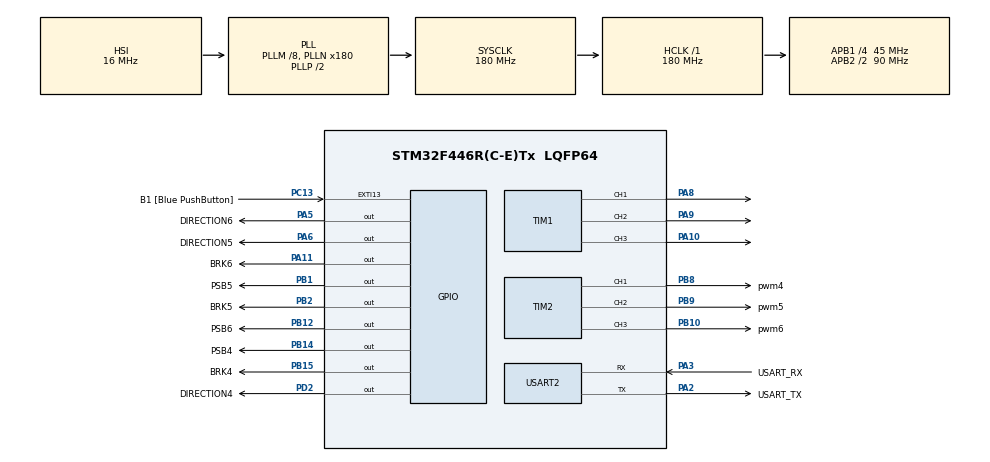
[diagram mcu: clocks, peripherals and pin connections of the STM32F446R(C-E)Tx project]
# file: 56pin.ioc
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Mcu.Family=STM32F4
Mcu.Name=STM32F446R(C-E)Tx
Mcu.Package=LQFP64
NVIC.PriorityGroup=NVIC_PRIORITYGROUP_0
PA10.Signal=S_TIM1_CH3
PA11.GPIO_Label=BRK6
PA11.Signal=GPIO_Output
PA13.GPIO_Label=TMS
PA13.Mode=Serial_Wire
PA13.Signal=SYS_JTMS-SWDIO
PA14.GPIO_Label=TCK
PA14.Mode=Serial_Wire
PA14.Signal=SYS_JTCK-SWCLK
PA2.GPIO_Label=USART_TX
PA2.Mode=Asynchronous
PA2.Signal=USART2_TX
PA3.GPIO_Label=USART_RX
PA3.Mode=Asynchronous
PA3.Signal=USART2_RX
PA5.GPIO_Label=DIRECTION6
PA5.Signal=GPIO_Output
PA6.GPIO_Label=DIRECTION5
PA6.Signal=GPIO_Output
PA8.Signal=S_TIM1_CH1
PA9.Signal=S_TIM1_CH2
PB1.GPIO_Label=PSB5
PB1.Signal=GPIO_Output
PB10.GPIO_Label=pwm6
PB10.Signal=S_TIM2_CH3
PB12.GPIO_Label=PSB6
PB12.Signal=GPIO_Output
PB14.GPIO_Label=PSB4
PB14.Signal=GPIO_Output
PB15.GPIO_Label=BRK4
PB15.Signal=GPIO_Output
PB2.GPIO_Label=BRK5
PB2.Signal=GPIO_Output
PB3.GPIO_Label=SWO
PB3.Signal=SYS_JTDO-SWO
PB8.GPIO_Label=pwm4
PB8.Signal=S_TIM2_CH1_ETR
PB9.GPIO_Label=pwm5
PB9.Signal=S_TIM2_CH2
PC13.GPIO_Label=B1 [Blue PushButton]
PC13.GPIO_ModeDefaultEXTI=GPIO_MODE_IT_FALLING
PC13.Signal=GPXTI13
PC14-OSC32_IN.Mode=LSE-External-Oscillator
PC14-OSC32_IN.Signal=RCC_OSC32_IN
PC15-OSC32_OUT.Mode=LSE-External-Oscillator
PC15-OSC32_OUT.Signal=RCC_OSC32_OUT
PD2.GPIO_Label=DIRECTION4
PD2.Signal=GPIO_Output
PH0-OSC_IN.Mode=HSE-External-Oscillator
PH0-OSC_IN.Signal=RCC_OSC_IN
PH1-OSC_OUT.Mode=HSE-External-Oscillator
PH1-OSC_OUT.Signal=RCC_OSC_OUT
ProjectManager.HeapSize=0x200
ProjectManager.StackSize=0x400
ProjectManager.TargetToolchain=STM32CubeIDE
RCC.48MHZClocksFreq_Value=84000000
RCC.AHBFreq_Value=180000000
RCC.APB1CLKDivider=RCC_HCLK_DIV4
RCC.APB1Freq_Value=45000000
RCC.APB1TimFreq_Value=90000000
RCC.APB2CLKDivider=RCC_HCLK_DIV2
RCC.APB2Freq_Value=90000000
RCC.APB2TimFreq_Value=180000000
RCC.CortexFreq_Value=180000000
RCC.FLatency-AdvancedSettings=FLASH_LATENCY_5
RCC.HCLKFreq_Value=180000000
RCC.HSE_VALUE=8000000
RCC.HSI_VALUE=16000000
RCC.PLLM=8
RCC.PLLN=180
RCC.SYSCLKFreq_VALUE=180000000
RCC.SYSCLKSource=RCC_SYSCLKSOURCE_PLLCLK
RCC.USBFreq_Value=180000000
RCC.VCOOutputFreq_Value=360000000
SH.S_TIM1_CH1.0=TIM1_CH1,PWM Generation1 CH1
SH.S_TIM1_CH2.0=TIM1_CH2,PWM Generation2 CH2
SH.S_TIM1_CH3.0=TIM1_CH3,PWM Generation3 CH3
SH.S_TIM2_CH1_ETR.0=TIM2_CH1,PWM Generation1 CH1
SH.S_TIM2_CH2.0=TIM2_CH2,PWM Generation2 CH2
SH.S_TIM2_CH3.0=TIM2_CH3,PWM Generation3 CH3
TIM1.Channel-PWM\ Generation1\ CH1=TIM_CHANNEL_1
TIM1.Channel-PWM\ Generation2\ CH2=TIM_CHANNEL_2
TIM1.Channel-PWM\ Generation3\ CH3=TIM_CHANNEL_3
TIM2.Channel-PWM\ Generation1\ CH1=TIM_CHANNEL_1
TIM2.Channel-PWM\ Generation2\ CH2=TIM_CHANNEL_2
TIM2.Channel-PWM\ Generation3\ CH3=TIM_CHANNEL_3
USART2.VirtualMode=VM_ASYNC
VP_TIM1_VS_ClockSourceINT.Mode=Internal
VP_TIM2_VS_ClockSourceINT.Mode=Internal
board=NUCLEO-F446RE

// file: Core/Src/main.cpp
/* USER CODE BEGIN Header */
/**
  ******************************************************************************
  * @file           : main.c
  * @brief          : Main program body
  ******************************************************************************
  * @attention
  *
  * Copyright (c) 2023 STMicroelectronics.
  * All rights reserved.
  *
  * This software is licensed under terms that can be found in the LICENSE file
  * in the root directory of this software component.
  * If no LICENSE file comes with this software, it is provided AS-IS.
  *
  ******************************************************************************
  */
/* USER CODE END Header */
#include "main.h"

TIM_HandleTypeDef htim1;
TIM_HandleTypeDef htim2;

UART_HandleTypeDef huart2;

void SystemClock_Config(void);
static void MX_GPIO_Init(void);
static void MX_USART2_UART_Init(void);
static void MX_TIM1_Init(void);
static void MX_TIM2_Init(void);

int main(void)
{

  /* MCU Configuration--------------------------------------------------------*/

  /* Reset of all peripherals, Initializes the Flash interface and the Systick. */
  HAL_Init();

  /* Configure the system clock */
  SystemClock_Config();

  /* Initialize all configured peripherals */
  MX_GPIO_Init();
  MX_USART2_UART_Init();
  MX_TIM1_Init();
  MX_TIM2_Init();
  /* USER CODE BEGIN 2 */
  HAL_TIM_PWM_Start(&htim2, TIM_CHANNEL_1);
  HAL_TIM_PWM_Start(&htim2, TIM_CHANNEL_2);
  HAL_TIM_PWM_Start(&htim2, TIM_CHANNEL_3);
  HAL_GPIO_WritePin(PSB4_GPIO_Port,PSB4_Pin,GPIO_PIN_SET);
  HAL_GPIO_WritePin(BRK4_GPIO_Port,BRK4_Pin,GPIO_PIN_RESET);
  HAL_GPIO_WritePin(DIRECTION4_GPIO_Port,DIRECTION4_Pin,GPIO_PIN_SET);
  HAL_GPIO_WritePin(PSB5_GPIO_Port,PSB5_Pin,GPIO_PIN_SET);
  HAL_GPIO_WritePin(BRK5_GPIO_Port,BRK5_Pin,GPIO_PIN_RESET);
  HAL_GPIO_WritePin(DIRECTION5_GPIO_Port,DIRECTION5_Pin,GPIO_PIN_SET);
  HAL_GPIO_WritePin(PSB6_GPIO_Port,PSB6_Pin,GPIO_PIN_SET);
  HAL_GPIO_WritePin(BRK6_GPIO_Port,BRK6_Pin,GPIO_PIN_RESET);
  HAL_GPIO_WritePin(DIRECTION6_GPIO_Port,DIRECTION6_Pin,GPIO_PIN_SET);
  /* USER CODE END 2 */

  /* Infinite loop */
  /* USER CODE BEGIN WHILE */
  while (1)
  {
	  __HAL_TIM_SET_COMPARE(&htim2, TIM_CHANNEL_1, 30000);
	  __HAL_TIM_SET_COMPARE(&htim2, TIM_CHANNEL_2, 30000);
	  __HAL_TIM_SET_COMPARE(&htim2, TIM_CHANNEL_3, 30000);
    /* USER CODE END WHILE */

  }
}

void SystemClock_Config(void)
{
  RCC_OscInitTypeDef RCC_OscInitStruct = {0};
  RCC_ClkInitTypeDef RCC_ClkInitStruct = {0};

  /** Configure the main internal regulator output voltage
  */
  __HAL_RCC_PWR_CLK_ENABLE();
  __HAL_PWR_VOLTAGESCALING_CONFIG(PWR_REGULATOR_VOLTAGE_SCALE1);

  /** Initializes the RCC Oscillators according to the specified parameters
  * in the RCC_OscInitTypeDef structure.
  */
  RCC_OscInitStruct.OscillatorType = RCC_OSCILLATORTYPE_HSI;
  RCC_OscInitStruct.HSIState = RCC_HSI_ON;
  RCC_OscInitStruct.HSICalibrationValue = RCC_HSICALIBRATION_DEFAULT;
  RCC_OscInitStruct.PLL.PLLState = RCC_PLL_ON;
  RCC_OscInitStruct.PLL.PLLSource = RCC_PLLSOURCE_HSI;
  RCC_OscInitStruct.PLL.PLLM = 8;
  RCC_OscInitStruct.PLL.PLLN = 180;
  RCC_OscInitStruct.PLL.PLLP = RCC_PLLP_DIV2;
  RCC_OscInitStruct.PLL.PLLQ = 2;
  RCC_OscInitStruct.PLL.PLLR = 2;
  if (HAL_RCC_OscConfig(&RCC_OscInitStruct) != HAL_OK)
  {
    Error_Handler();
  }

  /** Activate the Over-Drive mode
  */
  if (HAL_PWREx_EnableOverDrive() != HAL_OK)
  {
    Error_Handler();
  }

  /** Initializes the CPU, AHB and APB buses clocks
  */
  RCC_ClkInitStruct.ClockType = RCC_CLOCKTYPE_HCLK|RCC_CLOCKTYPE_SYSCLK
                              |RCC_CLOCKTYPE_PCLK1|RCC_CLOCKTYPE_PCLK2;
  RCC_ClkInitStruct.SYSCLKSource = RCC_SYSCLKSOURCE_PLLCLK;
  RCC_ClkInitStruct.AHBCLKDivider = RCC_SYSCLK_DIV1;
  RCC_ClkInitStruct.APB1CLKDivider = RCC_HCLK_DIV4;
  RCC_ClkInitStruct.APB2CLKDivider = RCC_HCLK_DIV2;

  if (HAL_RCC_ClockConfig(&RCC_ClkInitStruct, FLASH_LATENCY_5) != HAL_OK)
  {
    Error_Handler();
  }
}

static void MX_TIM1_Init(void)
{

  TIM_ClockConfigTypeDef sClockSourceConfig = {0};
  TIM_MasterConfigTypeDef sMasterConfig = {0};
  TIM_OC_InitTypeDef sConfigOC = {0};
  TIM_BreakDeadTimeConfigTypeDef sBreakDeadTimeConfig = {0};

  htim1.Instance = TIM1;
  htim1.Init.Prescaler = 0;
  htim1.Init.CounterMode = TIM_COUNTERMODE_UP;
  htim1.Init.Period = 65535;
  htim1.Init.ClockDivision = TIM_CLOCKDIVISION_DIV1;
  htim1.Init.RepetitionCounter = 0;
  htim1.Init.AutoReloadPreload = TIM_AUTORELOAD_PRELOAD_DISABLE;
  if (HAL_TIM_Base_Init(&htim1) != HAL_OK)
  {
    Error_Handler();
  }
  sClockSourceConfig.ClockSource = TIM_CLOCKSOURCE_INTERNAL;
  if (HAL_TIM_ConfigClockSource(&htim1, &sClockSourceConfig) != HAL_OK)
  {
    Error_Handler();
  }
  if (HAL_TIM_PWM_Init(&htim1) != HAL_OK)
  {
    Error_Handler();
  }
  sMasterConfig.MasterOutputTrigger = TIM_TRGO_RESET;
  sMasterConfig.MasterSlaveMode = TIM_MASTERSLAVEMODE_DISABLE;
  if (HAL_TIMEx_MasterConfigSynchronization(&htim1, &sMasterConfig) != HAL_OK)
  {
    Error_Handler();
  }
  sConfigOC.OCMode = TIM_OCMODE_PWM1;
  sConfigOC.Pulse = 0;
  sConfigOC.OCPolarity = TIM_OCPOLARITY_HIGH;
  sConfigOC.OCNPolarity = TIM_OCNPOLARITY_HIGH;
  sConfigOC.OCFastMode = TIM_OCFAST_DISABLE;
  sConfigOC.OCIdleState = TIM_OCIDLESTATE_RESET;
  sConfigOC.OCNIdleState = TIM_OCNIDLESTATE_RESET;
  if (HAL_TIM_PWM_ConfigChannel(&htim1, &sConfigOC, TIM_CHANNEL_1) != HAL_OK)
  {
    Error_Handler();
  }
  if (HAL_TIM_PWM_ConfigChannel(&htim1, &sConfigOC, TIM_CHANNEL_2) != HAL_OK)
  {
    Error_Handler();
  }
  if (HAL_TIM_PWM_ConfigChannel(&htim1, &sConfigOC, TIM_CHANNEL_3) != HAL_OK)
  {
    Error_Handler();
  }
  sBreakDeadTimeConfig.OffStateRunMode = TIM_OSSR_DISABLE;
  sBreakDeadTimeConfig.OffStateIDLEMode = TIM_OSSI_DISABLE;
  sBreakDeadTimeConfig.LockLevel = TIM_LOCKLEVEL_OFF;
  sBreakDeadTimeConfig.DeadTime = 0;
  sBreakDeadTimeConfig.BreakState = TIM_BREAK_DISABLE;
  sBreakDeadTimeConfig.BreakPolarity = TIM_BREAKPOLARITY_HIGH;
  sBreakDeadTimeConfig.AutomaticOutput = TIM_AUTOMATICOUTPUT_DISABLE;
  if (HAL_TIMEx_ConfigBreakDeadTime(&htim1, &sBreakDeadTimeConfig) != HAL_OK)
  {
    Error_Handler();
  }
  HAL_TIM_MspPostInit(&htim1);

}

static void MX_TIM2_Init(void)
{

  TIM_ClockConfigTypeDef sClockSourceConfig = {0};
  TIM_MasterConfigTypeDef sMasterConfig = {0};
  TIM_OC_InitTypeDef sConfigOC = {0};

  htim2.Instance = TIM2;
  htim2.Init.Prescaler = 0;
  htim2.Init.CounterMode = TIM_COUNTERMODE_UP;
  htim2.Init.Period = 4294967295;
  htim2.Init.ClockDivision = TIM_CLOCKDIVISION_DIV1;
  htim2.Init.AutoReloadPreload = TIM_AUTORELOAD_PRELOAD_DISABLE;
  if (HAL_TIM_Base_Init(&htim2) != HAL_OK)
  {
    Error_Handler();
  }
  sClockSourceConfig.ClockSource = TIM_CLOCKSOURCE_INTERNAL;
  if (HAL_TIM_ConfigClockSource(&htim2, &sClockSourceConfig) != HAL_OK)
  {
    Error_Handler();
  }
  if (HAL_TIM_PWM_Init(&htim2) != HAL_OK)
  {
    Error_Handler();
  }
  sMasterConfig.MasterOutputTrigger = TIM_TRGO_RESET;
  sMasterConfig.MasterSlaveMode = TIM_MASTERSLAVEMODE_DISABLE;
  if (HAL_TIMEx_MasterConfigSynchronization(&htim2, &sMasterConfig) != HAL_OK)
  {
    Error_Handler();
  }
  sConfigOC.OCMode = TIM_OCMODE_PWM1;
  sConfigOC.Pulse = 0;
  sConfigOC.OCPolarity = TIM_OCPOLARITY_HIGH;
  sConfigOC.OCFastMode = TIM_OCFAST_DISABLE;
  if (HAL_TIM_PWM_ConfigChannel(&htim2, &sConfigOC, TIM_CHANNEL_1) != HAL_OK)
  {
    Error_Handler();
  }
  if (HAL_TIM_PWM_ConfigChannel(&htim2, &sConfigOC, TIM_CHANNEL_2) != HAL_OK)
  {
    Error_Handler();
  }
  if (HAL_TIM_PWM_ConfigChannel(&htim2, &sConfigOC, TIM_CHANNEL_3) != HAL_OK)
  {
    Error_Handler();
  }
  HAL_TIM_MspPostInit(&htim2);

}

static void MX_USART2_UART_Init(void)
{

  huart2.Instance = USART2;
  huart2.Init.BaudRate = 115200;
  huart2.Init.WordLength = UART_WORDLENGTH_8B;
  huart2.Init.StopBits = UART_STOPBITS_1;
  huart2.Init.Parity = UART_PARITY_NONE;
  huart2.Init.Mode = UART_MODE_TX_RX;
  huart2.Init.HwFlowCtl = UART_HWCONTROL_NONE;
  huart2.Init.OverSampling = UART_OVERSAMPLING_16;
  if (HAL_UART_Init(&huart2) != HAL_OK)
  {
    Error_Handler();
  }

}

static void MX_GPIO_Init(void)
{
  GPIO_InitTypeDef GPIO_InitStruct = {0};

  /* GPIO Ports Clock Enable */
  __HAL_RCC_GPIOC_CLK_ENABLE();
  __HAL_RCC_GPIOH_CLK_ENABLE();
  __HAL_RCC_GPIOA_CLK_ENABLE();
  __HAL_RCC_GPIOB_CLK_ENABLE();
  __HAL_RCC_GPIOD_CLK_ENABLE();

  /*Configure GPIO pin Output Level */
  HAL_GPIO_WritePin(GPIOA, DIRECTION6_Pin|DIRECTION5_Pin|BRK6_Pin, GPIO_PIN_RESET);

  /*Configure GPIO pin Output Level */
  HAL_GPIO_WritePin(GPIOB, PSB5_Pin|BRK5_Pin|PSB6_Pin|PSB4_Pin
                          |BRK4_Pin, GPIO_PIN_RESET);

  /*Configure GPIO pin Output Level */
  HAL_GPIO_WritePin(DIRECTION4_GPIO_Port, DIRECTION4_Pin, GPIO_PIN_RESET);

  /*Configure GPIO pin : B1_Pin */
  GPIO_InitStruct.Pin = B1_Pin;
  GPIO_InitStruct.Mode = GPIO_MODE_IT_FALLING;
  GPIO_InitStruct.Pull = GPIO_NOPULL;
  HAL_GPIO_Init(B1_GPIO_Port, &GPIO_InitStruct);

  /*Configure GPIO pins : DIRECTION6_Pin DIRECTION5_Pin BRK6_Pin */
  GPIO_InitStruct.Pin = DIRECTION6_Pin|DIRECTION5_Pin|BRK6_Pin;
  GPIO_InitStruct.Mode = GPIO_MODE_OUTPUT_PP;
  GPIO_InitStruct.Pull = GPIO_NOPULL;
  GPIO_InitStruct.Speed = GPIO_SPEED_FREQ_LOW;
  HAL_GPIO_Init(GPIOA, &GPIO_InitStruct);

  /*Configure GPIO pins : PSB5_Pin BRK5_Pin PSB6_Pin PSB4_Pin
                           BRK4_Pin */
  GPIO_InitStruct.Pin = PSB5_Pin|BRK5_Pin|PSB6_Pin|PSB4_Pin
                          |BRK4_Pin;
  GPIO_InitStruct.Mode = GPIO_MODE_OUTPUT_PP;
  GPIO_InitStruct.Pull = GPIO_NOPULL;
  GPIO_InitStruct.Speed = GPIO_SPEED_FREQ_LOW;
  HAL_GPIO_Init(GPIOB, &GPIO_InitStruct);

  /*Configure GPIO pin : DIRECTION4_Pin */
  GPIO_InitStruct.Pin = DIRECTION4_Pin;
  GPIO_InitStruct.Mode = GPIO_MODE_OUTPUT_PP;
  GPIO_InitStruct.Pull = GPIO_NOPULL;
  GPIO_InitStruct.Speed = GPIO_SPEED_FREQ_LOW;
  HAL_GPIO_Init(DIRECTION4_GPIO_Port, &GPIO_InitStruct);

}

void Error_Handler(void)
{
  __disable_irq();
  while (1)
  {
  }
}
